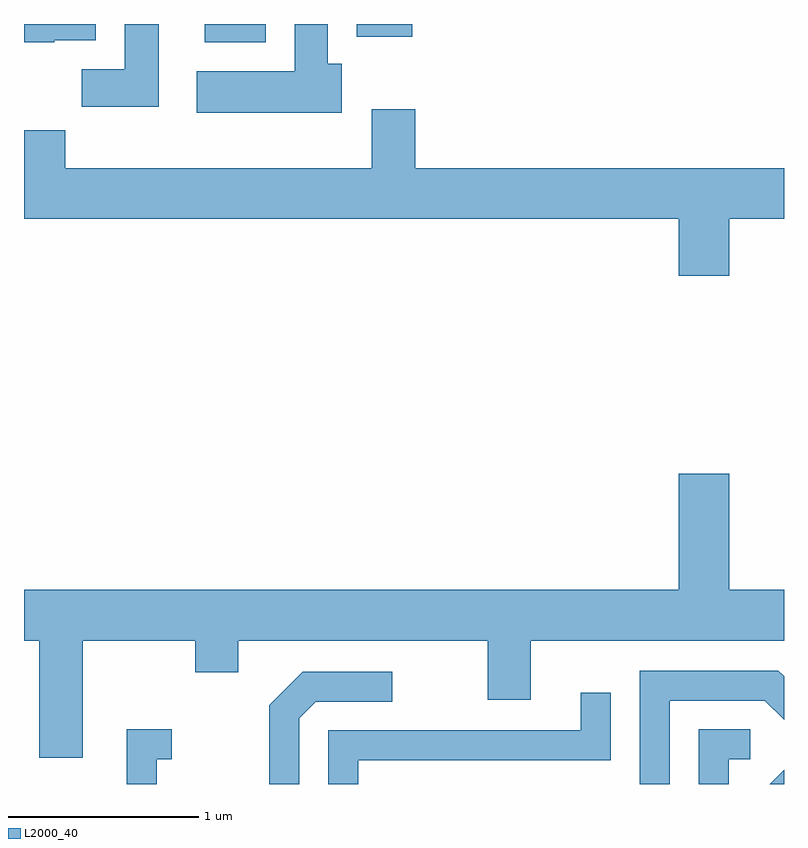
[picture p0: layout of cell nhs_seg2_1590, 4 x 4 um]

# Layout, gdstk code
import gdstk
lib = gdstk.Library(unit=1e-6, precision=1e-09)
def R(c, l, rs):  # rectangles x0, y0, x1, y1
    for r in rs: c.add(gdstk.rectangle(r[:2], r[2:], *l))
def P(c, l, *ps):  # polygons
    for p in ps: c.add(gdstk.Polygon(p, *l))
L2000_40 = (2000, 40)

nhs_seg2_1590 = lib.new_cell('nhs_seg2_1590')
R(nhs_seg2_1590, L2000_40, [(232.561,1033.706,232.884,1033.802), (233.361,1033.736,233.654,1033.802)])
P(nhs_seg2_1590, L2000_40, [(233.284,1033.594),(233.209,1033.594),(233.209,1033.802),(233.036,1033.802),(233.036,1033.554),(232.521,1033.554),(232.521,1033.336),(233.284,1033.336)],
  [(232.319,1033.802),(232.141,1033.802),(232.141,1033.564),(231.916,1033.564),(231.916,1033.366),(232.319,1033.366)],
  [(231.77,1033.716),(231.989,1033.716),(231.989,1033.802),(231.611,1033.802),(231.611,1033.706),(231.77,1033.706)],
  [(235.324,1032.776),(235.611,1032.776),(235.611,1033.044),(233.669,1033.044),(233.669,1033.354),(233.441,1033.354),(233.441,1033.044),(231.829,1033.044),(231.829,1033.244),(231.611,1033.244),(231.611,1032.776),(235.056,1032.776),(235.056,1032.476),(235.324,1032.476)],
  [(231.919,1030.556),(232.511,1030.556),(232.511,1030.391),(232.739,1030.391),(232.739,1030.556),(234.051,1030.556),(234.051,1030.246),(234.279,1030.246),(234.279,1030.556),(235.611,1030.556),(235.611,1030.824),(235.324,1030.824),(235.324,1031.434),(235.056,1031.434),(235.056,1030.824),(231.611,1030.824),(231.611,1030.556),(231.691,1030.556),(231.691,1029.941),(231.919,1029.941)],
  [(235.009,1030.241),(235.509,1030.241),(235.611,1030.139),(235.611,1030.37),(235.582,1030.399),(234.851,1030.399),(234.851,1029.802),(235.009,1029.802)],
  [(233.059,1030.149),(233.147,1030.236),(233.548,1030.236),(233.548,1030.394),(233.079,1030.394),(232.901,1030.217),(232.901,1029.802),(233.059,1029.802)],
  [(233.369,1029.926),(234.699,1029.926),(234.699,1030.283),(234.541,1030.283),(234.541,1030.084),(233.211,1030.084),(233.211,1029.802),(233.369,1029.802)],
  [(235.319,1029.931),(235.433,1029.931),(235.433,1030.089),(235.161,1030.089),(235.161,1029.802),(235.319,1029.802)],
  [(232.309,1029.931),(232.388,1029.931),(232.388,1030.089),(232.151,1030.089),(232.151,1029.802),(232.309,1029.802)],
  [(235.611,1029.876),(235.536,1029.802),(235.611,1029.802)])

lib.write_gds('nhs_seg2_1590.gds')
